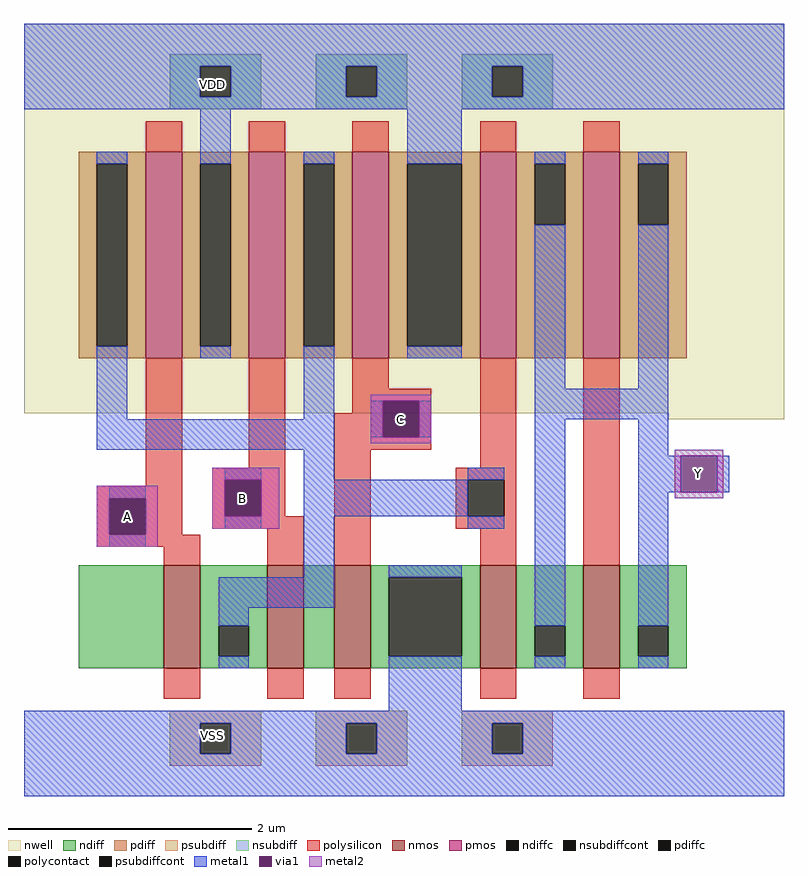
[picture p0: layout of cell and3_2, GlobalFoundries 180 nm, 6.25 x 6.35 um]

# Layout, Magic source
magic
tech gf180mcuD
magscale 1 5
<< nwell >>
rect -90 315 535 635
rect 440 310 535 315
<< nmos >>
rect 25 105 55 190
rect 110 105 140 190
rect 165 105 195 190
rect 285 105 315 190
rect 370 105 400 190
<< pmos >>
rect 10 360 40 530
rect 95 360 125 530
rect 180 360 210 530
rect 285 360 315 530
rect 370 360 400 530
<< ndiff >>
rect -45 105 25 190
rect 55 140 110 190
rect 55 115 70 140
rect 95 115 110 140
rect 55 105 110 115
rect 140 105 165 190
rect 195 180 285 190
rect 195 115 210 180
rect 270 115 285 180
rect 195 105 285 115
rect 315 140 370 190
rect 315 115 330 140
rect 355 115 370 140
rect 315 105 370 115
rect 400 140 455 190
rect 400 115 415 140
rect 440 115 455 140
rect 400 105 455 115
<< pdiff >>
rect -45 520 10 530
rect -45 370 -30 520
rect -5 370 10 520
rect -45 360 10 370
rect 40 520 95 530
rect 40 370 55 520
rect 80 370 95 520
rect 40 360 95 370
rect 125 520 180 530
rect 125 370 140 520
rect 165 370 180 520
rect 125 360 180 370
rect 210 520 285 530
rect 210 370 225 520
rect 270 370 285 520
rect 210 360 285 370
rect 315 520 370 530
rect 315 470 330 520
rect 355 470 370 520
rect 315 360 370 470
rect 400 520 455 530
rect 400 470 415 520
rect 440 470 455 520
rect 400 360 455 470
<< ndiffc >>
rect 70 115 95 140
rect 210 115 270 180
rect 330 115 355 140
rect 415 115 440 140
<< pdiffc >>
rect -30 370 -5 520
rect 55 370 80 520
rect 140 370 165 520
rect 225 370 270 520
rect 330 470 355 520
rect 415 470 440 520
<< psubdiff >>
rect 30 60 105 70
rect 30 35 55 60
rect 80 35 105 60
rect 30 25 105 35
rect 150 60 225 70
rect 150 35 175 60
rect 200 35 225 60
rect 150 25 225 35
rect 270 60 345 70
rect 270 35 295 60
rect 320 35 345 60
rect 270 25 345 35
<< nsubdiff >>
rect 30 600 105 610
rect 30 575 55 600
rect 80 575 105 600
rect 30 565 105 575
rect 150 600 225 610
rect 150 575 175 600
rect 200 575 225 600
rect 150 565 225 575
rect 270 600 345 610
rect 270 575 295 600
rect 320 575 345 600
rect 270 565 345 575
<< psubdiffcont >>
rect 55 35 80 60
rect 175 35 200 60
rect 295 35 320 60
<< nsubdiffcont >>
rect 55 575 80 600
rect 175 575 200 600
rect 295 575 320 600
<< polysilicon >>
rect 10 530 40 555
rect 95 530 125 555
rect 180 530 210 555
rect 285 530 315 555
rect 370 530 400 555
rect 10 255 40 360
rect 95 270 125 360
rect 180 335 210 360
rect 180 325 245 335
rect 180 315 205 325
rect -30 245 40 255
rect -30 215 -20 245
rect 10 215 40 245
rect 65 260 125 270
rect 65 230 75 260
rect 105 230 125 260
rect 165 295 205 315
rect 235 295 245 325
rect 165 285 245 295
rect 65 220 140 230
rect -30 205 55 215
rect 25 190 55 205
rect 110 190 140 220
rect 165 190 195 285
rect 285 270 315 360
rect 265 260 315 270
rect 265 230 275 260
rect 305 230 315 260
rect 265 220 315 230
rect 285 190 315 220
rect 370 190 400 360
rect 25 80 55 105
rect 110 80 140 105
rect 165 80 195 105
rect 285 80 315 105
rect 370 80 400 105
<< polycontact >>
rect -20 215 10 245
rect 75 230 105 260
rect 205 295 235 325
rect 275 230 305 260
<< metal1 >>
rect -90 600 535 635
rect -90 575 55 600
rect 80 575 175 600
rect 200 575 295 600
rect 320 575 535 600
rect -90 565 535 575
rect -30 520 -5 530
rect -30 310 -5 370
rect 55 520 80 565
rect 55 360 80 370
rect 140 520 165 530
rect 140 310 165 370
rect 225 520 270 565
rect 225 360 270 370
rect 330 520 355 530
rect 330 335 355 470
rect 415 520 440 530
rect 415 335 440 470
rect -30 285 165 310
rect 195 295 205 325
rect 235 295 245 325
rect 330 310 440 335
rect 75 260 105 270
rect -20 245 10 255
rect 75 220 105 230
rect 140 260 165 285
rect 275 260 305 270
rect 140 230 275 260
rect -20 205 10 215
rect 140 180 165 230
rect 275 220 305 230
rect 70 155 165 180
rect 210 180 270 190
rect 70 140 95 155
rect 70 105 95 115
rect 210 70 270 115
rect 330 140 355 310
rect 330 105 355 115
rect 415 280 440 310
rect 415 250 450 280
rect 480 250 490 280
rect 415 140 440 250
rect 415 105 440 115
rect -90 60 535 70
rect -90 35 55 60
rect 80 35 175 60
rect 200 35 295 60
rect 320 35 535 60
rect -90 0 535 35
<< via1 >>
rect 205 295 235 325
rect -20 215 10 245
rect 75 230 105 260
rect 450 250 480 280
<< metal2 >>
rect 195 325 245 330
rect 195 295 205 325
rect 235 295 245 325
rect 195 290 245 295
rect 445 280 485 285
rect 65 260 120 270
rect -30 245 20 255
rect -30 215 -20 245
rect 10 215 20 245
rect 65 230 75 260
rect 105 230 120 260
rect 445 250 450 280
rect 480 250 485 280
rect 445 245 485 250
rect 65 220 120 230
rect -30 205 20 215
<< labels >>
rlabel nsubdiffcont 65 585 65 585 1 VDD
rlabel psubdiffcont 65 50 65 50 1 VSS
flabel psubdiffcont 55 35 80 60 0 FreeSans 80 0 0 0 VSS
flabel nsubdiffcont 55 575 80 600 0 FreeSans 80 0 0 0 VDD
flabel via1 450 250 480 280 0 FreeSans 160 0 0 0 Y
flabel metal2 205 295 235 325 0 FreeSans 160 0 0 0 C
flabel metal2 -20 215 10 245 0 FreeSans 160 0 0 0 A
flabel metal2 75 230 105 260 0 FreeSans 160 0 0 0 B
<< end >>
